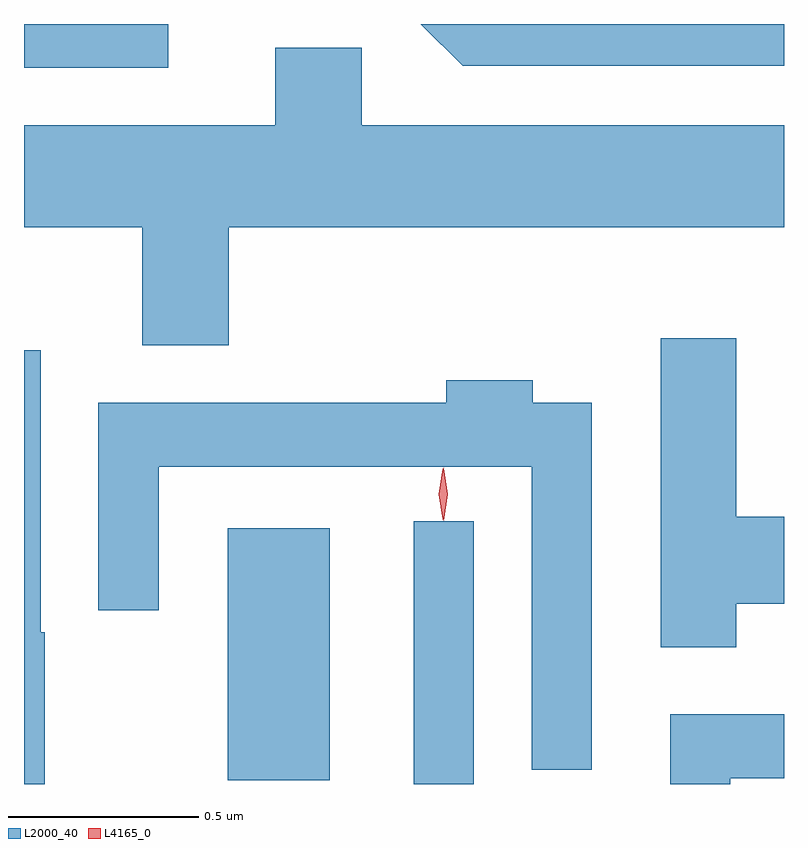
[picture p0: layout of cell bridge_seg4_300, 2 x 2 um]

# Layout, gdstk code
import gdstk
lib = gdstk.Library(unit=1e-6, precision=1e-09)
def R(c, l, rs):  # rectangles x0, y0, x1, y1
    for r in rs: c.add(gdstk.rectangle(r[:2], r[2:], *l))
def P(c, l, *ps):  # polygons
    for p in ps: c.add(gdstk.Polygon(p, *l))
L2000_40 = (2000, 40)
L4165_0 = (4165, 0)

bridge_seg4_300 = lib.new_cell('bridge_seg4_300')
R(bridge_seg4_300, L2000_40, [(516.936,1319.911,517.094,1320.603), (516.446,1319.921,516.714,1320.584), (515.91,1321.796,516.289,1321.911)])
P(bridge_seg4_300, L2000_40, [(517.91,1321.911),(516.954,1321.911),(517.064,1321.801),(517.91,1321.801)],
  [(516.449,1321.376),(517.91,1321.376),(517.91,1321.644),(516.799,1321.644),(516.799,1321.849),(516.571,1321.849),(516.571,1321.644),(515.91,1321.644),(515.91,1321.376),(516.221,1321.376),(516.221,1321.066),(516.449,1321.066)],
  [(517.784,1320.386),(517.91,1320.386),(517.91,1320.614),(517.784,1320.614),(517.784,1321.084),(517.586,1321.084),(517.586,1320.271),(517.784,1320.271)],
  [(515.964,1320.31),(515.954,1320.31),(515.954,1321.053),(515.91,1321.053),(515.91,1319.911),(515.964,1319.911)],
  [(517.404,1320.914),(517.249,1320.914),(517.249,1320.974),(517.021,1320.974),(517.021,1320.914),(516.106,1320.914),(516.106,1320.368),(516.264,1320.368),(516.264,1320.746),(517.246,1320.746),(517.246,1319.948),(517.404,1319.948)],
  [(517.769,1319.926),(517.91,1319.926),(517.91,1320.094),(517.611,1320.094),(517.611,1319.911),(517.769,1319.911)])
P(bridge_seg4_300, L4165_0, [(517.012,1320.607),(517.012,1320.608),(517.002,1320.674),(517.012,1320.74),(517.012,1320.74),(517.013,1320.74),(517.022,1320.674),(517.013,1320.608)],
  [(517.014,1320.604),(517.005,1320.674),(517.014,1320.742),(517.015,1320.743),(517.015,1320.742),(517.025,1320.674),(517.015,1320.604),(517.015,1320.604)])

lib.write_gds('bridge_seg4_300.gds')
